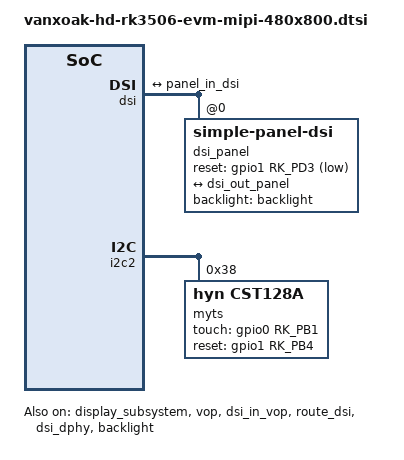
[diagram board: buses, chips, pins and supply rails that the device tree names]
#include <dt-bindings/display/drm_mipi_dsi.h>
#include <dt-bindings/input/rk-input.h>
#include <dt-bindings/suspend/rockchip-rk3506.h>

&dsi {
	status = "okay";
	rockchip,lane-rate = <1000>;
	dsi_panel: panel@0 {
		status = "okay";
		compatible = "simple-panel-dsi";
        reset-gpios = <&gpio1 RK_PD3 GPIO_ACTIVE_LOW>;
		reg = <0>;
		backlight = <&backlight>;
		reset-delay-ms = <30>;
		enable-delay-ms = <100>;
		prepare-delay-ms = <20>;
		unprepare-delay-ms = <20>;
		disable-delay-ms = <20>;
		init-delay-ms = <120>;
		dsi,flags = <(MIPI_DSI_MODE_VIDEO | MIPI_DSI_MODE_VIDEO_BURST |
			      MIPI_DSI_MODE_LPM | MIPI_DSI_MODE_NO_EOT_PACKET)>;
		dsi,format = <MIPI_DSI_FMT_RGB888>;
		dsi,lanes  = <2>;
		panel-init-sequence = [
		    // SSD_SEND(0x11,0xB9,0xFF,0x83,0x79);
		    39 00 05 11 B9 FF 83 79

		    // SSD_SEND(0x11,0xBA,0x93);
		    15 00 02 11 BA 93

		    // SSD_SEND(0x11,0xB1,0x00,0x40,0x54,0xE9,0x90,0x08,0x1F,0x13,0x73,0x1D,0x1D,0xBF,0x3F,0x42,0x0B,0x66,0xF1,0x00,0xE6);
		    39 00 17 11 B1 00 40 54 E9 90 08 1F 13 73 1D 1D BF 3F 42 0B 66 F1 00 E6

		    // SSD_SEND(0x11,0xB2,0x00,0x00,0xFE,0x0D,0x06,0x19,0x22,0x00,0xFF,0x0D,0x06,0x19,0x22);
		    39 00 0F 11 B2 00 00 FE 0D 06 19 22 00 FF 0D 06 19 22

		    // SSD_SEND(0x11,0xB4,0x00,0x08,0x00,0x32,0x10,0x03,0x00,0x00,0x00,0x00,0x00,0x08,0x33,0x01,0x28,0x07,0x37,0x04,0x20,0x08,0x20,0x20,0x02,0x00,0x40,0x08,0x28,0x08,0x30,0x30,0x04);
		    39 00 21 11 B4 00 08 00 32 10 03 00 00 00 00 00 08 33 01 28 07 37 04 20 08 20 20 02 00 40 08 28 08 30 30 04

		    // SSD_SEND(0x11,0xCC,0x02);
		    15 00 02 11 CC 02

		    // SSD_SEND(0x11,0xD5,... 56 字节)
		    39 00 38 11 D5 00 03 08 10 01 00 00 03 00 99 88 88 88 23 01 67 45 01 23 88 88 88 88 88 88 88 99 88 88 32 54 76 10 10 32 88 88 88 88 88 88 01 01 00 00 00 00

		    // SSD_SEND(0x11,0xE0,... 40 字节)
		    39 00 28 11 E0 79 02 15 1B 3D 3B 3D 2D 4C 06 0D 0F 13 15 13 14 12 18 02 15 1B 3D 3B 3D 2D 4C 06 0D 0F 13 15 13 14 12 18

		    // SSD_SEND(0x11,0xB6,0x00,0x8E,0x00,0x8E);
		    15 00 04 11 B6 00 8E 00 8E

		    // Sleep Out
		    05 00 01 11
		    78 03       // Delay 800ms

		    // Display ON
		    05 00 01 29
		    78 03       // Delay 800ms
		];

		panel-exit-sequence = [
			05 00 01 28
			05 00 01 10
		];

		disp_timings0: display-timings {
			native-mode = <&dsi_timing0>;
			dsi_timing0: timing0 {
				clock-frequency = <27000000>;
				hactive = <480>;   	
				vactive = <854>;   	 
				hfront-porch = <32>;  
				hsync-len = <4>;   	 
				hback-porch = <32>;  
				vfront-porch = <9>;  
				vsync-len = <4>;     
				vback-porch = <3>;   
				hsync-active = <0>;
				vsync-active = <0>;
				de-active = <0>;
				pixelclk-active = <0>;
			};
		};

		ports {
			#address-cells = <1>;
			#size-cells = <0>;

			port@0 {
				reg = <0>;
				panel_in_dsi: endpoint {
					remote-endpoint = <&dsi_out_panel>;
					status = "okay";
				};
			};
		};
	};

	ports {
		#address-cells = <1>;
		#size-cells = <0>;

		port@1 {
			reg = <1>;
			dsi_out_panel: endpoint {
				remote-endpoint = <&panel_in_dsi>;
			};
		};
	};
};

&display_subsystem {
	status = "okay";
	logo-memory-region = <&drm_logo>;
};

&vop {
	status = "okay";
};

&dsi_in_vop {
	status = "okay";
};

&rgb_in_vop {
	status = "disabled";
};

&route_dsi {
	status = "okay";
	//logo,rotate = <3>;
};

&route_rgb {
	status = "disabled";
};

&dsi_dphy {
	status = "okay";
};

&backlight {
	compatible = "pwm-backlight";
	pwms = <&pwm0_4ch_2 0 25000 0>;
	status = "okay";
};

// TOUCH
&i2c2 {
	status = "okay";
	 pinctrl-0 = <&rm_io4_i2c2_scl &rm_io5_i2c2_sda>;

	myts@38 {
		status = "okay";
		compatible = "hyn,cst128a";
		reg = <0x38>;
		tp-size = <89>;
		max-x = <480>;
		max-y = <800>;
		touch-gpio = <&gpio0 RK_PB1 IRQ_TYPE_LEVEL_LOW>;
		reset-gpio = <&gpio1 RK_PB4 GPIO_ACTIVE_HIGH>;
	};
};

&pinctrl {
	myts{
		touch_gpio: touch-gpio {
			rockchip,pins = <0 RK_PB1 RK_FUNC_GPIO &pcfg_pull_up>;
		};
	};
};
